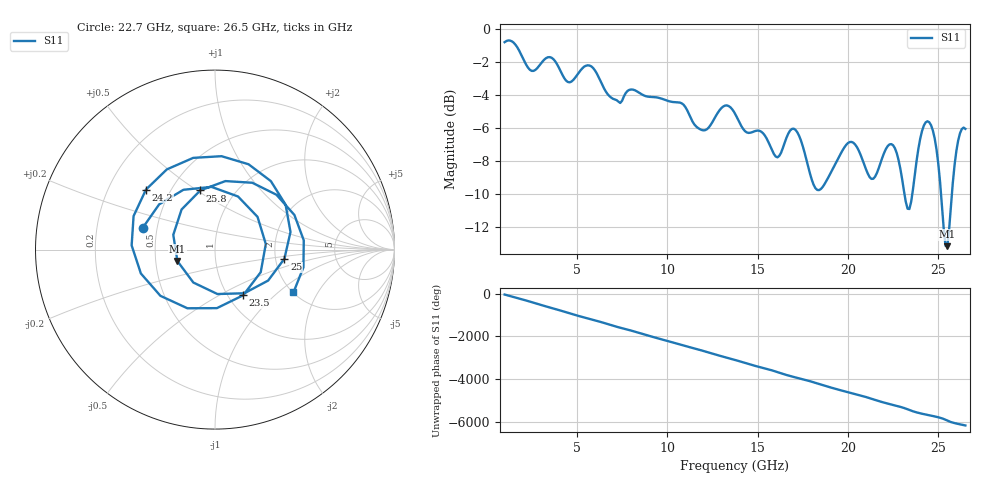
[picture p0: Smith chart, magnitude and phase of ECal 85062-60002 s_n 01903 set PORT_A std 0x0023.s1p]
!Created with skrf (http://scikit-rf.org).
# Hz S RI R 50.0
!freq ReS11 ImS11
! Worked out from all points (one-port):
!   256 points, 1 GHz to 26.5 GHz, reference 50 ohm
!   lowest |S11| = -13.2 dB at 25.5 GHz (marker M1), VSWR 1.56, Z = 32.5 - j4.37 ohm
!   |S11| at or under -10 dB: 23.13 GHz to 23.56 GHz (437.8 MHz wide, 1.88 % of centre); 25.15 GHz to 25.75 GHz (602.7 MHz wide, 2.37 % of centre)
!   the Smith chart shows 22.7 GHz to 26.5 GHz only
!   S11 on the Smith chart (normalised r, x): 22.7 GHz: 0.42, +0.12; 23.5 GHz: 1.17, -0.66; 24.2 GHz: 0.36, +0.33; 25 GHz: 2.24, -0.27; 25.8 GHz: 0.69, +0.52; 26.5 GHz: 2.01, -1.28
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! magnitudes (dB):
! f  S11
! 1 GHz  -0.8
! 2.5 GHz  -2.5
! 3.5 GHz  -1.7
! 4.2 GHz  -2.8
! 5.8 GHz  -2.3
! 7.4 GHz  -4.5
! 8 GHz  -3.7
! 10.6 GHz  -4.4
! 12 GHz  -6.1
! 13.2 GHz  -4.6
! 13.8 GHz  -5.2
! 16.1 GHz  -7.8
! 17 GHz  -6.0
! 18.3 GHz  -9.8
! 20.2 GHz  -6.9
! 21.3 GHz  -9.1
! 22.2 GHz  -7.1
! 22.7 GHz  -7.5
! 23.4 GHz  -10.9
! 23.5 GHz  -10.5
! 24.2 GHz  -5.9
! 24.6 GHz  -5.8
! 25 GHz  -8.2
! 25.4 GHz  -13.2
! 25.5 GHz  -13.2
! 25.8 GHz  -9.4
! 26.1 GHz  -6.8
! 26.5 GHz  -6.1
